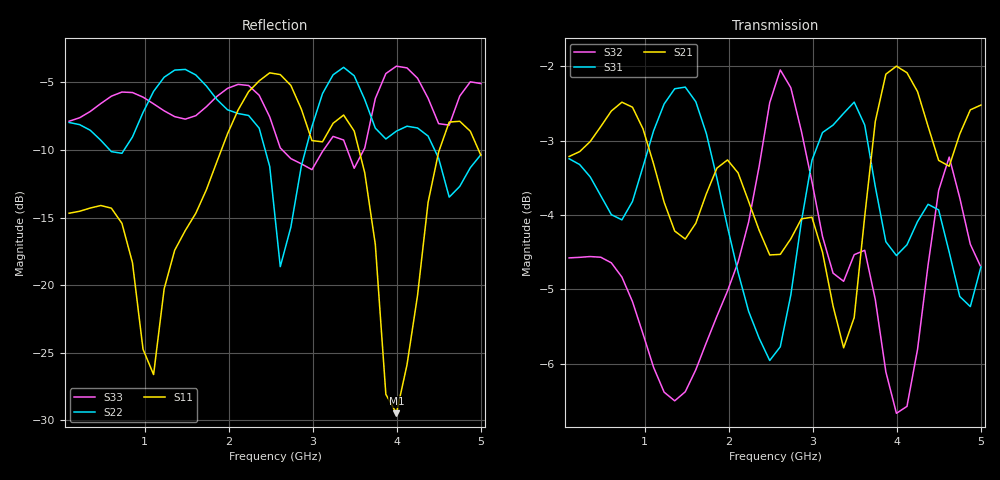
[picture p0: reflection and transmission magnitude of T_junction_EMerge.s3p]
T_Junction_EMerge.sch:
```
<Qucs Schematic 25.1.2>
<Properties>
  <View=-40,140,1206,841,1.26248,0,0>
  <Grid=10,10,1>
  <DataSet=T_Junction_EMerge.dat>
  <DataDisplay=T_Junction_EMerge.dpl>
  <OpenDisplay=0>
  <Script=T_Junction_Sonnet.m>
  <RunScript=0>
  <showFrame=0>
  <FrameText0=Title>
  <FrameText1=Drawn By:>
  <FrameText2=Date:>
  <FrameText3=Revision:>
</Properties>
<Symbol>
</Symbol>
<Components>
  <Pac P1 1 100 360 18 -26 0 1 "1" 1 "50 Ohm" 1 "0 dBm" 0 "1 GHz" 0 "26.85" 0 "true" 0>
  <GND * 1 100 390 0 0 0 0>
  <GND * 1 670 240 0 0 0 0>
  <GND * 1 670 520 0 0 0 0>
  <Eqn Eqn1 1 190 650 -28 15 0 0 "S11_dB=dB(S[1,1])" 1 "S21_dB=dB(S[2,1])" 1 "S31_dB=dB(S[3,1])" 1 "S22_dB=dB(S[2,2])" 1 "S33_dB=dB(S[3,3])" 1 "yes" 0>
  <GND * 1 350 390 0 0 0 0>
  <.SP SP1 1 340 650 0 60 0 0 "lin" 1 "0.5GHz" 1 "2.5GHz" 1 "300" 1 "no" 0 "1" 0 "2" 0 "no" 0 "no" 0>
  <SPfile X1 1 350 330 -26 -85 0 0 "T_junction_EMerge.s3p" 1 "rectangular" 0 "cubic" 0 "open" 0 "3" 0>
  <Pac P2 1 670 210 18 -26 0 1 "2" 1 "50 Ohm" 1 "0 dBm" 0 "1 GHz" 0 "26.85" 0 "true" 0>
  <Pac P3 1 670 490 18 -26 0 1 "3" 1 "50 Ohm" 1 "0 dBm" 0 "1 GHz" 0 "26.85" 0 "true" 0>
</Components>
<Wires>
  <100 300 320 300 "" 0 0 0 "">
  <100 300 100 330 "" 0 0 0 "">
  <380 300 480 300 "" 0 0 0 "">
  <480 180 480 300 "" 0 0 0 "">
  <480 180 670 180 "" 0 0 0 "">
  <260 360 320 360 "" 0 0 0 "">
  <260 360 260 460 "" 0 0 0 "">
  <260 460 670 460 "" 0 0 0 "">
</Wires>
<Diagrams>
  <Tab 760 800 300 200 3 #c0c0c0 1 00 1 2 1 1 1 0 1 1 1 0 1 300 315 0 225 1 0 0 "" "" "">
	<"S[1,1]" #0000ff 0 3 1 0 0>
	<"S[1,2]" #0000ff 0 3 1 0 0>
  </Tab>
  <Rect 840 420 240 160 3 #c0c0c0 1 00 1 0 0.2 1 1 -0.1 0.5 1.1 1 -0.1 0.5 1.1 315 0 225 1 0 0 "" "" "">
	<"S21_dB" #0000ff 1 3 0 0 0>
	<"S11_dB" #ff0000 1 3 0 0 0>
	<"S22_dB" #ff00ff 1 3 0 0 0>
  </Rect>
</Diagrams>
<Paintings>
</Paintings>
```
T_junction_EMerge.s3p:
! Generated by EMerge - 3-port S-parameters
! File generated: 2025-07-03 19:46
! Substrate: RO4003C
! h = 0.508 mm
! Design parameters:
! W0 = 1.13 mm # Width of the 50 ohm line
! L0 = 45 mm # Length of the 50 ohm line
! W_high = 0.272 mm # Width of the high impedance line
! L_high = 47.3 mm # Length of the high impedance line
! W_match = 0.61 mm # Width of the lambda/4 matching line
! L_match = 46 mm # Length of the lambda/4 matching line
! Air box height = 10 mm
! Run time = 3.032407979170481 min
# GHZ S MA R 50
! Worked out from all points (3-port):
!   40 points, 100 MHz to 5 GHz, reference 50 ohm
!   strongest paths, dB at 100 MHz, 1.356 GHz, 2.613 GHz, 3.869 GHz, 5 GHz:
!     S21: -3.2, -4.2, -4.5, -2.1, -2.5
!     S31: -3.2, -2.3, -5.8, -4.4, -4.7
!     S32: -4.6, -6.5, -2.1, -6.1, -4.7
!   lowest |S11| = -29.5 dB at 3.995 GHz (marker M1), VSWR 1.07, Z = 53.1 - j1.47 ohm
!   |S11| at or under -10 dB: start of sweep to 1.912 GHz; 3.549 GHz to 4.506 GHz (956.3 MHz wide, 23.7 % of centre); 4.972 GHz to end of sweep
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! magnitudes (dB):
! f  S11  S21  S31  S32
! 100 MHz  -14.7  -3.2  -3.2  -4.6
! 1.105 GHz  -26.6  -3.3  -2.9  -6.0
! 2.613 GHz  -4.4  -4.5  -5.8  -2.1
! 3.995 GHz  -29.5  -2.0  -4.5  -6.7
! 5 GHz  -10.4  -2.5  -4.7  -4.7
